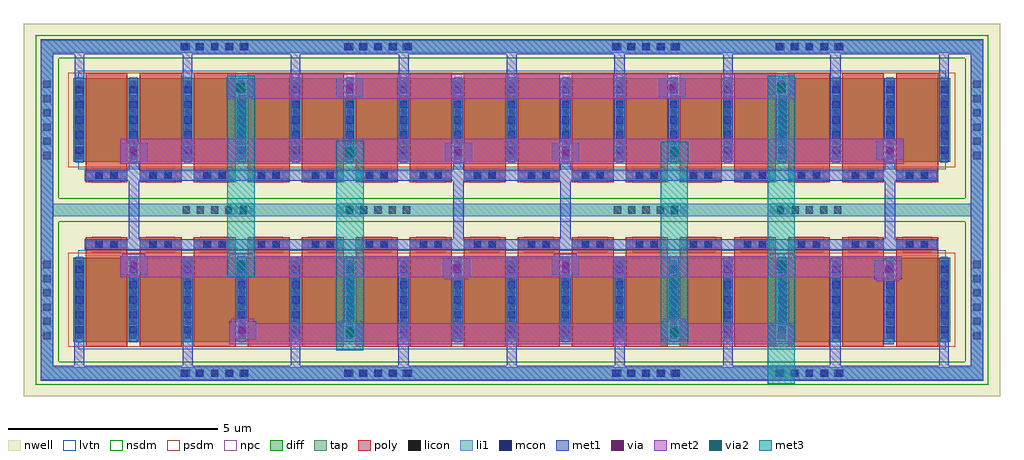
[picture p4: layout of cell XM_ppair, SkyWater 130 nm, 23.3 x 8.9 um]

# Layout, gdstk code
import gdstk
lib = gdstk.Library(unit=1e-6, precision=1e-09)
def R(c, l, rs):  # rectangles x0, y0, x1, y1
    for r in rs: c.add(gdstk.rectangle(r[:2], r[2:], *l))
def A(c, l, x, y, w, h, nx, ny, dx, dy):  # array of equal rectangles
    R(c, l, [(x+i*dx, y+j*dy, x+i*dx+w, y+j*dy+h) for i in range(nx) for j in range(ny)])
nwell = (64, 20)
diff = (65, 20)
tap = (65, 44)
poly = (66, 20)
licon = (66, 44)
li1 = (67, 20)
mcon = (67, 44)
met1 = (68, 20)
via = (68, 44)
met2 = (69, 20)
via2 = (69, 44)
met3 = (70, 20)
nsdm = (93, 44)
psdm = (94, 20)
npc = (95, 20)
lvtn = (125, 44)

sky130_fd_pr__pfet_01v8_ = lib.new_cell('sky130_fd_pr__pfet_01v8_lvt_MBDTEX')
R(sky130_fd_pr__pfet_01v8_, nwell, [(-10.645,-1.49,10.645,1.32)])
R(sky130_fd_pr__pfet_01v8_, diff, [(-10.465,-1.18,10.465,0.82)])
A(sky130_fd_pr__pfet_01v8_, poly, -10.175, -1.31, 1, 2.615, 16, 1, 1.29, 0)
A(sky130_fd_pr__pfet_01v8_, licon, -10.405, -1.115, 0.17, 0.17, 17, 6, 1.29, 0.34)
R(sky130_fd_pr__pfet_01v8_, licon, [(-9.93,1.055,-9.76,1.225), (-9.59,1.055,-9.42,1.225), (-8.64,1.055,-8.47,1.225), (-8.3,1.055,-8.13,1.225), (-7.35,1.055,-7.18,1.225), (-7.01,1.055,-6.84,1.225), (-6.06,1.055,-5.89,1.225), (-5.72,1.055,-5.55,1.225), (-4.77,1.055,-4.6,1.225), (-4.43,1.055,-4.26,1.225), (-3.48,1.055,-3.31,1.225), (-3.14,1.055,-2.97,1.225), (-2.19,1.055,-2.02,1.225), (-1.85,1.055,-1.68,1.225), (-0.9,1.055,-0.73,1.225), (-0.56,1.055,-0.39,1.225), (0.39,1.055,0.56,1.225), (0.73,1.055,0.9,1.225), (1.68,1.055,1.85,1.225), (2.02,1.055,2.19,1.225), (2.97,1.055,3.14,1.225), (3.31,1.055,3.48,1.225), (4.26,1.055,4.43,1.225), (4.6,1.055,4.77,1.225), (5.55,1.055,5.72,1.225), (5.89,1.055,6.06,1.225), (6.84,1.055,7.01,1.225), (7.18,1.055,7.35,1.225), (8.13,1.055,8.3,1.225), (8.47,1.055,8.64,1.225), (9.42,1.055,9.59,1.225), (9.76,1.055,9.93,1.225)])
A(sky130_fd_pr__pfet_01v8_, li1, -10.405, -1.2, 0.17, 2.04, 17, 1, 1.29, 0)
A(sky130_fd_pr__pfet_01v8_, li1, -10.175, 1.055, 1, 0.17, 16, 1, 1.29, 0)
A(sky130_fd_pr__pfet_01v8_, mcon, -10.405, -0.985, 0.17, 0.17, 17, 5, 1.29, 0.36)
R(sky130_fd_pr__pfet_01v8_, mcon, [(-9.94,1.055,-9.77,1.225), (-9.58,1.055,-9.41,1.225), (-8.65,1.055,-8.48,1.225), (-8.29,1.055,-8.12,1.225), (-7.36,1.055,-7.19,1.225), (-7,1.055,-6.83,1.225), (-6.07,1.055,-5.9,1.225), (-5.71,1.055,-5.54,1.225), (-4.78,1.055,-4.61,1.225), (-4.42,1.055,-4.25,1.225), (-3.49,1.055,-3.32,1.225), (-3.13,1.055,-2.96,1.225), (-2.2,1.055,-2.03,1.225), (-1.84,1.055,-1.67,1.225), (-0.91,1.055,-0.74,1.225), (-0.55,1.055,-0.38,1.225), (0.38,1.055,0.55,1.225), (0.74,1.055,0.91,1.225), (1.67,1.055,1.84,1.225), (2.03,1.055,2.2,1.225), (2.96,1.055,3.13,1.225), (3.32,1.055,3.49,1.225), (4.25,1.055,4.42,1.225), (4.61,1.055,4.78,1.225), (5.54,1.055,5.71,1.225), (5.9,1.055,6.07,1.225), (6.83,1.055,7,1.225), (7.19,1.055,7.36,1.225), (8.12,1.055,8.29,1.225), (8.48,1.055,8.65,1.225), (9.41,1.055,9.58,1.225), (9.77,1.055,9.94,1.225)])
A(sky130_fd_pr__pfet_01v8_, met1, -10.435, -1.18, 0.23, 2, 17, 1, 1.29, 0)
A(sky130_fd_pr__pfet_01v8_, met1, -10.155, 1.025, 0.96, 0.23, 16, 1, 1.29, 0)
R(sky130_fd_pr__pfet_01v8_, psdm, [(-10.59,-1.305,10.59,0.945)])
A(sky130_fd_pr__pfet_01v8_, npc, -10.03, 0.955, 0.71, 0.37, 16, 1, 1.29, 0)
R(sky130_fd_pr__pfet_01v8_, lvtn, [(-10.355,-1.36,10.355,1)])

c_sky130_fd_pr__pfet_01v8_ = lib.new_cell('sky130_fd_pr__pfet_01v8_lvt_B64SAM')
R(c_sky130_fd_pr__pfet_01v8_, nwell, [(-10.645,-1.32,10.645,1.49)])
R(c_sky130_fd_pr__pfet_01v8_, diff, [(-10.465,-0.82,10.465,1.18)])
A(c_sky130_fd_pr__pfet_01v8_, poly, -10.175, -1.305, 1, 2.615, 16, 1, 1.29, 0)
A(c_sky130_fd_pr__pfet_01v8_, licon, -10.405, -0.755, 0.17, 0.17, 17, 6, 1.29, 0.34)
R(c_sky130_fd_pr__pfet_01v8_, licon, [(-9.93,-1.225,-9.76,-1.055), (-9.59,-1.225,-9.42,-1.055), (-8.64,-1.225,-8.47,-1.055), (-8.3,-1.225,-8.13,-1.055), (-7.35,-1.225,-7.18,-1.055), (-7.01,-1.225,-6.84,-1.055), (-6.06,-1.225,-5.89,-1.055), (-5.72,-1.225,-5.55,-1.055), (-4.77,-1.225,-4.6,-1.055), (-4.43,-1.225,-4.26,-1.055), (-3.48,-1.225,-3.31,-1.055), (-3.14,-1.225,-2.97,-1.055), (-2.19,-1.225,-2.02,-1.055), (-1.85,-1.225,-1.68,-1.055), (-0.9,-1.225,-0.73,-1.055), (-0.56,-1.225,-0.39,-1.055), (0.39,-1.225,0.56,-1.055), (0.73,-1.225,0.9,-1.055), (1.68,-1.225,1.85,-1.055), (2.02,-1.225,2.19,-1.055), (2.97,-1.225,3.14,-1.055), (3.31,-1.225,3.48,-1.055), (4.26,-1.225,4.43,-1.055), (4.6,-1.225,4.77,-1.055), (5.55,-1.225,5.72,-1.055), (5.89,-1.225,6.06,-1.055), (6.84,-1.225,7.01,-1.055), (7.18,-1.225,7.35,-1.055), (8.13,-1.225,8.3,-1.055), (8.47,-1.225,8.64,-1.055), (9.42,-1.225,9.59,-1.055), (9.76,-1.225,9.93,-1.055)])
A(c_sky130_fd_pr__pfet_01v8_, li1, -10.175, -1.225, 1, 0.17, 16, 1, 1.29, 0)
A(c_sky130_fd_pr__pfet_01v8_, li1, -10.405, -0.84, 0.17, 2.04, 17, 1, 1.29, 0)
A(c_sky130_fd_pr__pfet_01v8_, mcon, -10.405, -0.625, 0.17, 0.17, 17, 5, 1.29, 0.36)
R(c_sky130_fd_pr__pfet_01v8_, mcon, [(-9.94,-1.225,-9.77,-1.055), (-9.58,-1.225,-9.41,-1.055), (-8.65,-1.225,-8.48,-1.055), (-8.29,-1.225,-8.12,-1.055), (-7.36,-1.225,-7.19,-1.055), (-7,-1.225,-6.83,-1.055), (-6.07,-1.225,-5.9,-1.055), (-5.71,-1.225,-5.54,-1.055), (-4.78,-1.225,-4.61,-1.055), (-4.42,-1.225,-4.25,-1.055), (-3.49,-1.225,-3.32,-1.055), (-3.13,-1.225,-2.96,-1.055), (-2.2,-1.225,-2.03,-1.055), (-1.84,-1.225,-1.67,-1.055), (-0.91,-1.225,-0.74,-1.055), (-0.55,-1.225,-0.38,-1.055), (0.38,-1.225,0.55,-1.055), (0.74,-1.225,0.91,-1.055), (1.67,-1.225,1.84,-1.055), (2.03,-1.225,2.2,-1.055), (2.96,-1.225,3.13,-1.055), (3.32,-1.225,3.49,-1.055), (4.25,-1.225,4.42,-1.055), (4.61,-1.225,4.78,-1.055), (5.54,-1.225,5.71,-1.055), (5.9,-1.225,6.07,-1.055), (6.83,-1.225,7,-1.055), (7.19,-1.225,7.36,-1.055), (8.12,-1.225,8.29,-1.055), (8.48,-1.225,8.65,-1.055), (9.41,-1.225,9.58,-1.055), (9.77,-1.225,9.94,-1.055)])
A(c_sky130_fd_pr__pfet_01v8_, met1, -10.155, -1.255, 0.96, 0.23, 16, 1, 1.29, 0)
A(c_sky130_fd_pr__pfet_01v8_, met1, -10.435, -0.82, 0.23, 2, 17, 1, 1.29, 0)
R(c_sky130_fd_pr__pfet_01v8_, psdm, [(-10.59,-0.945,10.59,1.305)])
A(c_sky130_fd_pr__pfet_01v8_, npc, -10.03, -1.325, 0.71, 0.37, 16, 1, 1.29, 0)
R(c_sky130_fd_pr__pfet_01v8_, lvtn, [(-10.355,-1,10.355,1.36)])

xm_ppair = lib.new_cell('XM_ppair')
R(xm_ppair, nwell, [(-1.1,-5.3,22.2,3.6)])
A(xm_ppair, tap, -0.7, -4.9, 22.5, 0.3, 1, 3, 0, 3.9)
R(xm_ppair, tap, [(-0.7,-4.6,-0.4,-1), (21.5,-4.6,21.8,-1), (-0.7,-0.7,-0.4,2.9), (21.5,-0.7,21.8,2.9)])
A(xm_ppair, licon, 2.685, -4.835, 0.17, 0.17, 5, 3, 0.34, 3.9)
A(xm_ppair, licon, 6.585, -4.835, 0.17, 0.17, 5, 3, 0.34, 3.9)
A(xm_ppair, licon, 12.985, -4.835, 0.17, 0.17, 5, 3, 0.34, 3.9)
A(xm_ppair, licon, 16.885, -4.835, 0.17, 0.17, 5, 3, 0.34, 3.9)
A(xm_ppair, licon, -0.635, -3.935, 0.17, 0.17, 1, 6, 0, 0.34)
A(xm_ppair, licon, 21.565, -3.935, 0.17, 0.17, 1, 6, 0, 0.34)
A(xm_ppair, licon, -0.635, 0.365, 0.17, 0.17, 1, 6, 0, 0.34)
A(xm_ppair, licon, 21.565, 0.365, 0.17, 0.17, 1, 6, 0, 0.34)
A(xm_ppair, li1, -0.7, -4.9, 22.5, 0.3, 1, 3, 0, 3.9)
R(xm_ppair, li1, [(-0.7,-4.6,-0.4,-1), (21.5,-4.6,21.8,-1), (-0.7,-0.7,-0.4,2.9), (21.5,-0.7,21.8,2.9)])
A(xm_ppair, mcon, 2.645, -4.835, 0.17, 0.17, 5, 2, 0.36, 7.8)
A(xm_ppair, mcon, 6.545, -4.835, 0.17, 0.17, 5, 2, 0.36, 7.8)
A(xm_ppair, mcon, 12.945, -4.835, 0.17, 0.17, 5, 2, 0.36, 7.8)
A(xm_ppair, mcon, 16.845, -4.835, 0.17, 0.17, 5, 2, 0.36, 7.8)
A(xm_ppair, met1, 0.11, 2.1, 0.23, 0.77, 5, 1, 2.58, 0)
R(xm_ppair, met1, [(-0.7,-4.93,21.8,-4.57), (-0.7,-4.57,-0.4,2.87), (0.105,-4.57,0.34,-3.945), (2.69,-4.57,2.93,-3.935), (5.27,-4.57,5.5,-3.945), (7.84,-4.57,8.08,-3.97), (10.43,-4.57,10.66,-3.97), (13,-4.57,13.24,-3.92), (15.59,-4.57,15.82,-3.89), (18.14,-4.57,18.4,-3.91), (20.75,-4.57,20.98,-3.875), (21.5,-4.57,21.8,2.87), (16.65,-4.05,17.3,-3.6), (19.43,-4.05,19.66,-3.99), (6.35,-4,7,-3.55), (9.13,-4,9.36,-3.94), (19.43,-3.99,19.46,-2.5), (19.63,-3.99,19.66,-2.5), (7.84,-3.97,8.07,-3.94), (1.41,-3.95,1.64,-3.89), (3.8,-3.95,4.45,-3.5), (11.71,-3.95,11.94,-3.89), (14.1,-3.95,14.75,-3.5), (7.84,-3.94,7.87,-2.06), (8.04,-3.94,8.07,-2.06), (9.13,-3.94,9.16,-2.45), (9.33,-3.94,9.36,-2.45), (2.7,-3.935,2.93,-3.89), (13,-3.92,13.23,-3.89), (18.14,-3.91,18.17,-2.11), (18.34,-3.91,18.37,-2.11), (1.41,-3.89,1.44,-2.45), (1.61,-3.89,1.64,-2.45), (2.7,-3.89,2.73,-2.01), (2.9,-3.89,2.93,-2.01), (11.71,-3.89,11.74,-2.45), (11.91,-3.89,11.94,-2.45), (13,-3.89,13.03,-2.01), (13.2,-3.89,13.23,-2.01), (16.85,-3.6,16.88,-2.11), (17.05,-3.6,17.08,-2.11), (6.55,-3.55,6.58,-2.06), (6.75,-3.55,6.78,-2.06), (3.99,-3.5,4.02,-2.01), (4.19,-3.5,4.22,-2.01), (14.29,-3.5,14.32,-2.01), (14.49,-3.5,14.52,-2.01), (19.2,-2.5,19.85,-2.05), (1.41,-2.45,1.46,-2.4), (1.61,-2.45,1.66,-2.4), (8.9,-2.45,9.55,-2), (11.71,-2.45,11.76,-2.4), (11.91,-2.45,11.96,-2.4), (1.2,-2.4,1.85,-1.95), (11.5,-2.4,12.15,-1.95), (16.85,-2.11,17.08,-2.05), (18.14,-2.11,18.37,-2.05), (6.55,-2.06,6.78,-2), (7.84,-2.06,8.07,-2), (2.7,-2.01,2.93,-1.95), (3.99,-2.01,4.22,-1.95), (13,-2.01,13.23,-1.95), (14.29,-2.01,14.52,-1.95), (0.35,-1.8,20.7,-1.55), (1.4,-1.55,1.65,-0.15), (9.15,-1.55,9.4,-0.15), (11.7,-1.55,11.95,-0.15), (19.45,-1.55,19.7,-0.15), (0.35,-0.15,20.7,0.1), (1.4,0.1,1.65,0.3), (9.15,0.1,9.4,0.3), (11.7,0.1,11.95,0.3), (19.45,0.1,19.7,0.35), (1.2,0.3,1.85,0.75), (8.95,0.3,9.6,0.75), (11.5,0.3,12.15,0.75), (12.99,0.3,13.19,0.36), (14.28,0.3,14.51,0.36), (16.86,0.35,17.09,0.41), (18.15,0.35,18.38,0.41), (19.25,0.35,19.9,0.8), (12.99,0.36,13.02,2.24), (14.28,0.36,14.31,1.85), (14.48,0.36,14.51,1.85), (16.86,0.41,16.89,1.85), (17.06,0.41,17.09,1.85), (18.15,0.41,18.18,2.27), (18.35,0.41,18.38,2.27), (11.7,0.75,11.73,2.24), (11.9,0.75,11.93,2.24), (19.44,0.8,19.47,2.29), (19.64,0.8,19.67,2.29), (6.58,1.8,6.61,1.85), (6.78,1.8,6.81,1.85), (3.75,1.85,4.4,2.3), (6.35,1.85,7,2.3), (14.05,1.85,14.7,2.3), (16.86,1.85,16.91,1.9), (17.06,1.85,17.11,1.9), (16.65,1.9,17.3,2.35), (11.7,2.24,11.93,2.3), (12.99,2.24,13.24,2.87), (15.59,2.245,15.82,2.87), (18.15,2.27,18.4,2.87), (20.75,2.285,20.98,2.87), (19.44,2.29,19.67,2.295), (19.44,2.295,19.69,2.3), (-0.7,2.87,21.8,3.23)])
R(xm_ppair, via, [(16.9,-3.9,17.05,-3.75), (6.6,-3.85,6.75,-3.7), (4.05,-3.8,4.2,-3.65), (14.35,-3.8,14.5,-3.65), (19.45,-2.35,19.6,-2.2), (9.15,-2.3,9.3,-2.15), (1.45,-2.25,1.6,-2.1), (11.75,-2.25,11.9,-2.1), (1.45,0.45,1.6,0.6), (9.2,0.45,9.35,0.6), (11.75,0.45,11.9,0.6), (19.5,0.5,19.65,0.65), (4,2,4.15,2.15), (6.6,2,6.75,2.15), (14.3,2,14.45,2.15), (16.9,2.05,17.05,2.2)])
R(xm_ppair, met2, [(16.7,-4.1,17.25,-4.05), (3.8,-4.05,17.3,-3.55), (3.85,-3.55,4.4,-3.45), (6.4,-3.55,6.96,-3.5), (14.15,-3.55,14.71,-3.5), (14.15,-3.5,14.7,-3.45), (19.25,-2.55,19.8,-2.45), (8.95,-2.5,9.5,-2.45), (1.2,-2.45,19.85,-1.95), (1.25,-1.95,1.8,-1.9), (3.8,-1.95,4.36,-1.9), (11.55,-1.95,12.1,-1.9), (16.7,-1.95,17.26,-1.9), (1.2,0.25,19.9,0.85), (3.75,1.8,17.3,2.4)])
R(xm_ppair, via2, [(6.58,-3.875,6.78,-3.675), (14.33,-3.875,14.53,-3.675), (3.98,-2.275,4.18,-2.075), (16.88,-2.275,17.08,-2.075), (6.58,0.425,6.78,0.625), (14.33,0.425,14.53,0.625), (3.97,1.975,4.17,2.175), (16.88,1.975,17.08,2.175)])
R(xm_ppair, met3, [(16.65,-5,17.3,-2.425), (6.35,-4.2,7,-4.05), (6.35,-4.05,7.01,0.8), (14.1,-4.05,14.75,-4.025), (14.1,-4.025,14.76,-3.525), (14.1,-3.525,14.75,0.275), (3.75,-2.45,4.41,1.825), (16.65,-2.425,17.31,-1.925), (16.65,-1.925,17.3,1.825), (14.1,0.275,14.76,0.775), (3.74,1.825,4.41,2.325), (16.65,1.825,17.31,2.325), (3.75,2.325,4.41,2.35), (16.65,2.325,17.3,2.35)])
A(xm_ppair, nsdm, -0.825, -5.025, 22.75, 0.55, 1, 3, 0, 3.9)
R(xm_ppair, nsdm, [(-0.825,-4.475,-0.275,-1.125), (21.375,-4.475,21.925,-1.125), (-0.825,-0.575,-0.275,2.775), (21.375,-0.575,21.925,2.775)])
xm_ppair.add(gdstk.Reference(sky130_fd_pr__pfet_01v8_, (10.545,-2.81)))
xm_ppair.add(gdstk.Reference(c_sky130_fd_pr__pfet_01v8_, (10.545,1.12)))

lib.write_gds('XM_ppair.gds')
